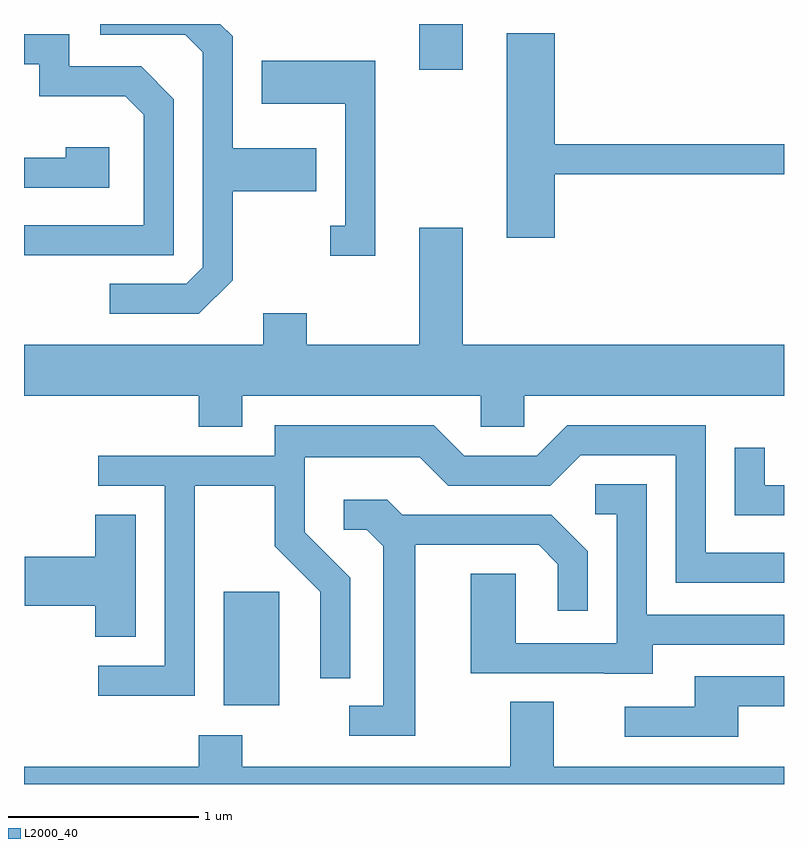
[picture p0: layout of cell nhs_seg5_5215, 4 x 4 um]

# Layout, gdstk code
import gdstk
lib = gdstk.Library(unit=1e-6, precision=1e-09)
def R(c, l, rs):  # rectangles x0, y0, x1, y1
    for r in rs: c.add(gdstk.rectangle(r[:2], r[2:], *l))
def P(c, l, *ps):  # polygons
    for p in ps: c.add(gdstk.Polygon(p, *l))
L2000_40 = (2000, 40)

nhs_seg5_5215 = lib.new_cell('nhs_seg5_5215')
R(nhs_seg5_5215, L2000_40, [(340.661,1468.486,340.954,1469.084), (341.691,1471.831,341.919,1472.072)])
P(nhs_seg5_5215, L2000_40, [(340.709,1470.724),(340.709,1471.191),(341.149,1471.191),(341.149,1471.419),(340.709,1471.419),(340.709,1472.007),(340.644,1472.072),(340.013,1472.072),(340.013,1472.016),(340.459,1472.016),(340.551,1471.924),(340.551,1470.792),(340.464,1470.704),(340.063,1470.704),(340.063,1470.546),(340.532,1470.546)],
  [(342.404,1471.281),(343.611,1471.281),(343.611,1471.439),(342.404,1471.439),(342.404,1472.024),(342.151,1472.024),(342.151,1470.946),(342.404,1470.946)],
  [(340.399,1471.677),(340.227,1471.849),(339.849,1471.849),(339.849,1472.019),(339.611,1472.019),(339.611,1471.861),(339.691,1471.861),(339.691,1471.691),(340.144,1471.691),(340.241,1471.594),(340.241,1471.014),(339.611,1471.014),(339.611,1470.856),(340.399,1470.856)],
  [(341.459,1471.879),(340.861,1471.879),(340.861,1471.651),(341.301,1471.651),(341.301,1471.009),(341.223,1471.009),(341.223,1470.851),(341.459,1470.851)],
  [(340.059,1471.424),(339.831,1471.424),(339.831,1471.369),(339.611,1471.369),(339.611,1471.211),(340.059,1471.211)],
  [(340.759,1470.116),(342.016,1470.116),(342.016,1469.951),(342.244,1469.951),(342.244,1470.116),(343.611,1470.116),(343.611,1470.384),(341.919,1470.384),(341.919,1470.999),(341.691,1470.999),(341.691,1470.384),(341.099,1470.384),(341.099,1470.549),(340.871,1470.549),(340.871,1470.384),(339.611,1470.384),(339.611,1470.116),(340.531,1470.116),(340.531,1469.951),(340.759,1469.951)],
  [(340.509,1469.641),(340.931,1469.641),(340.931,1469.324),(341.171,1469.084),(341.171,1468.628),(341.329,1468.628),(341.329,1469.157),(341.089,1469.397),(341.089,1469.791),(341.694,1469.791),(341.844,1469.641),(342.382,1469.641),(342.542,1469.801),(343.041,1469.801),(343.041,1469.131),(343.611,1469.131),(343.611,1469.289),(343.199,1469.289),(343.199,1469.959),(342.469,1469.959),(342.309,1469.799),(341.927,1469.799),(341.767,1469.959),(340.931,1469.959),(340.931,1469.799),(340.003,1469.799),(340.003,1469.641),(340.351,1469.641),(340.351,1468.694),(340.003,1468.694),(340.003,1468.536),(340.509,1468.536)],
  [(343.611,1469.644),(343.509,1469.644),(343.509,1469.843),(343.351,1469.843),(343.351,1469.486),(343.611,1469.486)],
  [(342.919,1468.806),(343.611,1468.806),(343.611,1468.964),(342.889,1468.964),(342.889,1469.649),(342.618,1469.649),(342.618,1469.491),(342.731,1469.491),(342.731,1468.814),(342.199,1468.814),(342.199,1469.179),(341.961,1469.179),(341.961,1468.656),(342.665,1468.656),(342.665,1468.651),(342.919,1468.651)],
  [(341.669,1469.331),(342.319,1469.331),(342.421,1469.229),(342.421,1468.983),(342.579,1468.983),(342.579,1469.297),(342.387,1469.489),(341.602,1469.489),(341.522,1469.569),(341.293,1469.569),(341.293,1469.411),(341.414,1469.411),(341.501,1469.324),(341.501,1468.484),(341.323,1468.484),(341.323,1468.326),(341.669,1468.326)],
  [(340.199,1469.489),(339.986,1469.489),(339.986,1469.269),(339.616,1469.269),(339.616,1469.011),(339.986,1469.011),(339.986,1468.846),(340.199,1468.846)],
  [(343.369,1468.481),(343.611,1468.481),(343.611,1468.639),(343.141,1468.639),(343.141,1468.479),(342.773,1468.479),(342.773,1468.321),(343.369,1468.321)],
  [(343.611,1468.164),(342.399,1468.164),(342.399,1468.504),(342.171,1468.504),(342.171,1468.164),(340.759,1468.164),(340.759,1468.329),(340.531,1468.329),(340.531,1468.164),(339.611,1468.164),(339.611,1468.072),(343.611,1468.072)])

lib.write_gds('nhs_seg5_5215.gds')
